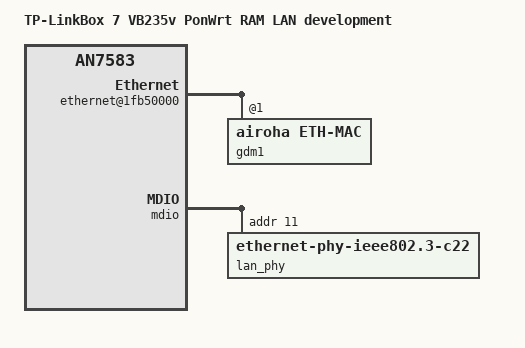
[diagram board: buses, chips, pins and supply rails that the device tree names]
// SPDX-License-Identifier: GPL-2.0-only
/include/ "an7583-tplink_vb235v-ram.dts"

/* Separate RAM-only experiment: sole connected switch port 3, PHY 0x0b.
 * Numeric reset IDs and resources match the pinned AN7583 bindings/tree.
 * No NAND, PCIe, NPU, external MDIO, DSL, GPIO or LED nodes are enabled.
 */
/ {
	model = "TP-LinkBox 7 VB235v PonWrt RAM LAN development";
	compatible = "tplink,vb235v-ram-lan-development", "airoha,an7583";
	aliases { ethernet0 = &gdm1; };
	chip_scu: syscon@1fa20000 {
		compatible = "airoha,en7581-chip-scu", "syscon", "simple-mfd";
		reg = <0 0x1fa20000 0 0x388>;
	};
	scuclk: system-controller@1fb00000 {
		compatible = "airoha,an7583-scu", "syscon";
		reg = <0 0x1fb00000 0 0x970>;
		#clock-cells = <1>;
		#reset-cells = <1>;
		airoha,chip-scu = <&chip_scu>;
	};
	ethernet@1fb50000 {
		compatible = "airoha,an7583-eth";
		reg = <0 0x1fb50000 0 0x2600>, <0 0x1fb54000 0 0x2000>, <0 0x1fb56000 0 0x2000>;
		reg-names = "fe", "qdma0", "qdma1";
		/* FE, PDMA, QDMA, HSI0 MAC, HSI1 MAC, XFP MAC. */
		resets = <&scuclk 40>, <&scuclk 26>, <&scuclk 27>, <&scuclk 13>, <&scuclk 14>, <&scuclk 22>;
		reset-names = "fe", "pdma", "qdma", "hsi0-mac", "hsi1-mac", "xfp-mac";
		interrupts = <0 37 4>, <0 55 4>, <0 56 4>, <0 57 4>, <0 38 4>,
			     <0 58 4>, <0 59 4>, <0 60 4>, <0 49 4>, <0 64 4>;
		memory-region = <&{/reserved-memory/qdma0@87000000}>, <&{/reserved-memory/qdma1@89000000}>;
		memory-region-names = "qdma0-buf", "qdma1-buf";
		#address-cells = <1>;
		#size-cells = <0>;
		gdm1: ethernet@1 {
			compatible = "airoha,eth-mac";
			reg = <1>;
			phy-mode = "internal";
			fixed-link { speed = <10000>; full-duplex; pause; };
		};
	};
	switch@1fb58000 {
		compatible = "airoha,an7583-switch";
		reg = <0 0x1fb58000 0 0x8000>;
		resets = <&scuclk 42>;
		interrupt-controller;
		#interrupt-cells = <1>;
		interrupt-parent = <&gic>;
		interrupts = <0 209 4>;
		#address-cells = <1>;
		#size-cells = <1>;
		ports {
			#address-cells = <1>;
			#size-cells = <0>;
			port@3 {
				reg = <3>;
				label = "lan-test";
				phy-mode = "internal";
				phy-handle = <&lan_phy>;
			};
			port@6 {
				reg = <6>;
				ethernet = <&gdm1>;
				phy-mode = "internal";
				fixed-link { speed = <10000>; full-duplex; pause; };
			};
		};
		mdio {
			#address-cells = <1>;
			#size-cells = <0>;
			lan_phy: ethernet-phy@b {
				compatible = "ethernet-phy-ieee802.3-c22";
				reg = <11>;
				phy-mode = "internal";
			};
		};
	};
};
